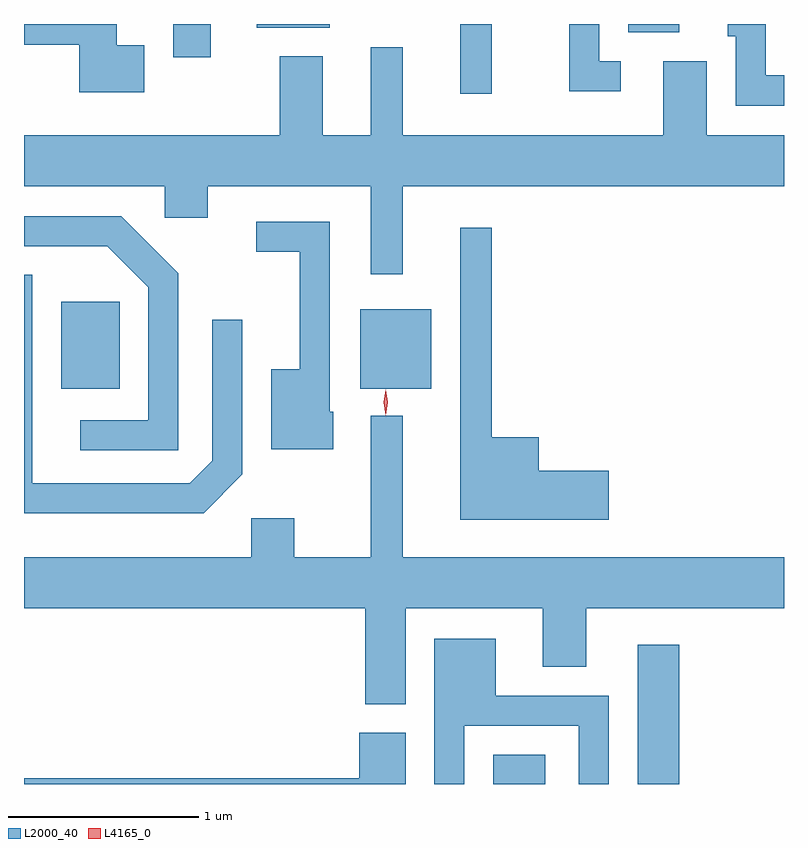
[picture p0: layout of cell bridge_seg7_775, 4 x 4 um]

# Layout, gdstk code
import gdstk
lib = gdstk.Library(unit=1e-6, precision=1e-09)
def R(c, l, rs):  # rectangles x0, y0, x1, y1
    for r in rs: c.add(gdstk.rectangle(r[:2], r[2:], *l))
def P(c, l, *ps):  # polygons
    for p in ps: c.add(gdstk.Polygon(p, *l))
L2000_40 = (2000, 40)
L4165_0 = (4165, 0)

bridge_seg7_775 = lib.new_cell('bridge_seg7_775')
R(bridge_seg7_775, L2000_40, [(384.346,1784.43,384.619,1784.584), (385.106,1784.43,385.324,1785.164), (382.071,1786.511,382.379,1786.969), (383.646,1786.511,384.019,1786.929), (384.171,1788.063,384.339,1788.43), (382.661,1788.256,382.859,1788.43), (385.056,1788.386,385.324,1788.43), (383.101,1788.411,383.484,1788.43)])
P(bridge_seg7_775, L2000_40, [(382.509,1788.319),(382.364,1788.319),(382.364,1788.43),(381.876,1788.43),(381.876,1788.321),(382.166,1788.321),(382.166,1788.071),(382.509,1788.071)],
  [(385.876,1788.159),(385.779,1788.159),(385.779,1788.43),(385.581,1788.43),(385.581,1788.366),(385.621,1788.366),(385.621,1788.001),(385.876,1788.001)],
  [(385.018,1788.234),(384.904,1788.234),(384.904,1788.43),(384.746,1788.43),(384.746,1788.076),(385.018,1788.076)],
  [(383.869,1787.576),(385.876,1787.576),(385.876,1787.844),(385.469,1787.844),(385.469,1788.234),(385.241,1788.234),(385.241,1787.844),(383.869,1787.844),(383.869,1788.308),(383.701,1788.308),(383.701,1787.844),(383.449,1787.844),(383.449,1788.259),(383.221,1788.259),(383.221,1787.844),(381.876,1787.844),(381.876,1787.576),(382.616,1787.576),(382.616,1787.411),(382.844,1787.411),(382.844,1787.576),(383.701,1787.576),(383.701,1787.113),(383.869,1787.113)],
  [(382.689,1787.117),(382.387,1787.419),(381.876,1787.419),(381.876,1787.261),(382.314,1787.261),(382.531,1787.044),(382.531,1786.344),(382.173,1786.344),(382.173,1786.186),(382.689,1786.186)],
  [(383.504,1786.389),(383.484,1786.389),(383.484,1787.389),(383.098,1787.389),(383.098,1787.231),(383.326,1787.231),(383.326,1786.614),(383.176,1786.614),(383.176,1786.191),(383.504,1786.191)],
  [(384.954,1786.079),(384.584,1786.079),(384.584,1786.254),(384.339,1786.254),(384.339,1787.358),(384.171,1787.358),(384.171,1785.821),(384.954,1785.821)],
  [(383.024,1786.059),(383.024,1786.873),(382.866,1786.873),(382.866,1786.132),(382.749,1786.014),(381.919,1786.014),(381.919,1787.109),(381.876,1787.109),(381.876,1785.856),(382.822,1785.856)],
  [(383.884,1785.356),(384.606,1785.356),(384.606,1785.046),(384.834,1785.046),(384.834,1785.356),(385.876,1785.356),(385.876,1785.624),(383.869,1785.624),(383.869,1786.368),(383.701,1786.368),(383.701,1785.624),(383.299,1785.624),(383.299,1785.829),(383.071,1785.829),(383.071,1785.624),(381.876,1785.624),(381.876,1785.356),(383.671,1785.356),(383.671,1784.851),(383.884,1784.851)],
  [(384.194,1784.736),(384.796,1784.736),(384.796,1784.43),(384.954,1784.43),(384.954,1784.894),(384.359,1784.894),(384.359,1785.194),(384.036,1785.194),(384.036,1784.43),(384.194,1784.43)],
  [(383.884,1784.699),(383.641,1784.699),(383.641,1784.459),(381.876,1784.459),(381.876,1784.43),(383.884,1784.43)])
P(bridge_seg7_775, L4165_0, [(383.78,1786.372),(383.78,1786.373),(383.77,1786.437),(383.78,1786.501),(383.78,1786.502),(383.781,1786.501),(383.79,1786.437),(383.781,1786.373)],
  [(383.78,1786.369),(383.78,1786.37),(383.77,1786.438),(383.78,1786.506),(383.78,1786.506),(383.781,1786.506),(383.79,1786.438),(383.781,1786.37)])

lib.write_gds('bridge_seg7_775.gds')
